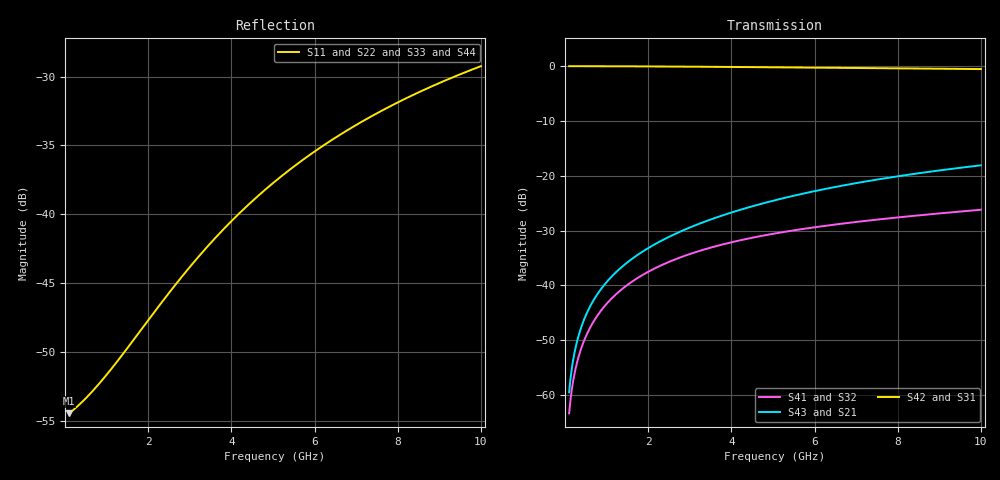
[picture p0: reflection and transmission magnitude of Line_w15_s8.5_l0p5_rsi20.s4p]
! TOUCHSTONE file generated by CST MICROWAVE STUDIO
! Date and time: Wed Oct 15 13:48:45 2014
! Project name: Untitled_1.cst
# GHZ S MA R 50
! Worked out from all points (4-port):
!   1001 points, 100 MHz to 10 GHz, reference 50 ohm
!   strongest paths, dB at 100 MHz, 2.575 GHz, 5.05 GHz, 7.525 GHz, 10 GHz:
!     S42: 0.0, -0.1, -0.2, -0.4, -0.5
!     S31: 0.0, -0.1, -0.2, -0.4, -0.5
!     S43: -59.5, -30.9, -24.5, -20.7, -18.1
!     S21: -59.5, -30.9, -24.5, -20.7, -18.1
!     S41: -63.3, -35.5, -30.5, -28.0, -26.2
!     S32: -63.3, -35.5, -30.5, -28.0, -26.2
!   lowest |S11| = -54.4 dB at 100 MHz (marker M1), VSWR 1.00, Z = 50.2 - j0.0169 ohm
!   |S11| at or under -10 dB: start of sweep to end of sweep
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0.1  0.001898 -5.1  0.001061 90.0  0.9981 -0.2  0.0006823 -90.6
     0.001061 90.0  0.001898 -5.1  0.0006823 -90.6  0.9981 -0.2
     0.9981 -0.2  0.0006823 -90.6  0.001898 -5.1  0.001061 90.0
     0.0006823 -90.6  0.9981 -0.2  0.001061 90.0  0.001898 -5.1
0.3376  0.002036 -19.8  0.003585 90.4  0.9978 -0.8  0.002304 -91.8
        0.003585 90.4  0.002036 -19.9  0.002304 -91.8  0.9979 -0.8
        0.9978 -0.8  0.002304 -91.8  0.002036 -19.8  0.003585 90.4
        0.002304 -91.8  0.9979 -0.8  0.003585 90.4  0.002036 -19.9
0.7138  0.002329 -41.5  0.00761 90.6  0.9972 -1.6  0.004861 -94.0
        0.00761 90.6  0.002331 -41.5  0.004861 -94.0  0.9972 -1.6
        0.9972 -1.6  0.004861 -94.0  0.002329 -41.5  0.00761 90.6
        0.004861 -94.0  0.9972 -1.6  0.00761 90.6  0.002331 -41.5
1.3375  0.003036 -72.9  0.01441 90.7  0.9955 -3.0  0.009031 -97.6
        0.01441 90.7  0.003042 -72.9  0.009031 -97.6  0.9955 -3.0
        0.9955 -3.0  0.009031 -97.6  0.003036 -72.9  0.01441 90.8
        0.009031 -97.6  0.9955 -3.0  0.01441 90.8  0.00304 -72.9
2.2285  0.004585 -108.3  0.02452 90.6  0.9919 -5.0  0.01473 -102.6
        0.02452 90.6  0.004592 -108.1  0.01473 -102.6  0.9919 -5.0
        0.9919 -5.0  0.01473 -102.6  0.004586 -108.3  0.02452 90.6
        0.01473 -102.6  0.9919 -5.0  0.02452 90.6  0.004593 -108.2
5.5846  0.01523 -179.9  0.06686 86.0  0.9708 -11.8  0.03214 -116.9
        0.06686 86.0  0.01519 -179.7  0.03214 -116.9  0.9708 -11.8
        0.9708 -11.8  0.03214 -116.9  0.01526 -179.9  0.06687 86.0
        0.03214 -116.9  0.9708 -11.8  0.06687 86.0  0.01524 -179.7
10  0.03447 137.1  0.1244 75.8  0.9393 -19.6  0.04897 -126.9
    0.1244 75.8  0.03434 137.2  0.04897 -126.9  0.9394 -19.6
    0.9393 -19.6  0.04897 -126.9  0.03456 137.1  0.1245 75.9
    0.04897 -126.9  0.9394 -19.6  0.1245 75.9  0.03449 137.2
